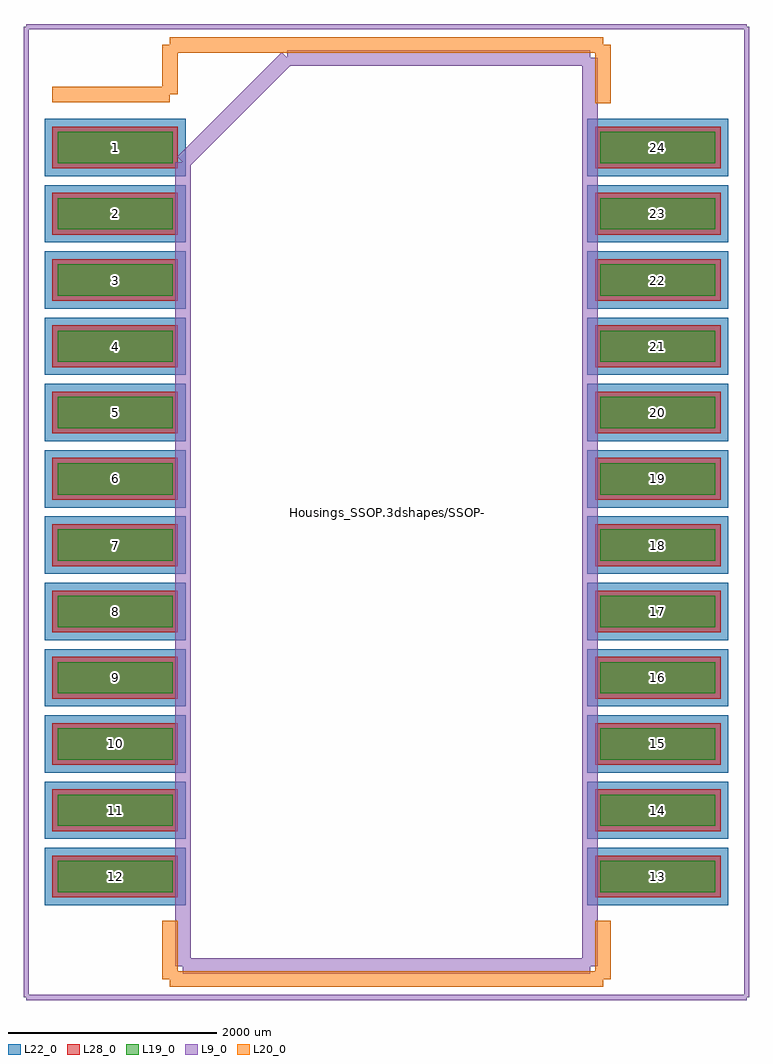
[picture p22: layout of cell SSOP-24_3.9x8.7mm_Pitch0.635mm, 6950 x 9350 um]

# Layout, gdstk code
import gdstk
lib = gdstk.Library(unit=1e-6, precision=1e-09)
def R(c, l, rs):  # rectangles x0, y0, x1, y1
    for r in rs: c.add(gdstk.rectangle(r[:2], r[2:], *l))
def A(c, l, x, y, w, h, nx, ny, dx, dy):  # array of equal rectangles
    R(c, l, [(x+i*dx, y+j*dy, x+i*dx+w, y+j*dy+h) for i in range(nx) for j in range(ny)])
L9_0 = (9, 0)
L19_0 = (19, 0)
L20_0 = (20, 0)
L22_0 = (22, 0)
L28_0 = (28, 0)

ssop_24_3_9x8_7mm_pitch0 = lib.new_cell('SSOP-24_3.9x8.7mm_Pitch0.635mm')
A(ssop_24_3_9x8_7mm_pitch0, L19_0, -3150, -3642.5, 1100, 300, 1, 12, 0, 635)
A(ssop_24_3_9x8_7mm_pitch0, L19_0, 2050, -3642.5, 1100, 300, 1, 12, 0, 635)
A(ssop_24_3_9x8_7mm_pitch0, L22_0, -3275, -3767.5, 1350, 550, 1, 12, 0, 635)
A(ssop_24_3_9x8_7mm_pitch0, L22_0, 1925, -3767.5, 1350, 550, 1, 12, 0, 635)
A(ssop_24_3_9x8_7mm_pitch0, L28_0, -3200, -3692.5, 1200, 400, 1, 12, 0, 635)
A(ssop_24_3_9x8_7mm_pitch0, L28_0, 2000, -3692.5, 1200, 400, 1, 12, 0, 635)
ssop_24_3_9x8_7mm_pitch0.add(gdstk.FlexPath([(-2075,4000),(-3200,4000)], 149.998, ends="flush", simple_path=True, layer=20, datatype=0))  # L20_0
ssop_24_3_9x8_7mm_pitch0.add(gdstk.FlexPath([(-2075,-4475),(2075,-4475)], 149.998, ends="flush", simple_path=True, layer=20, datatype=0))  # L20_0
ssop_24_3_9x8_7mm_pitch0.add(gdstk.FlexPath([(-2075,4475),(2075,4475)], 149.998, ends="flush", simple_path=True, layer=20, datatype=0))  # L20_0
ssop_24_3_9x8_7mm_pitch0.add(gdstk.FlexPath([(-2075,-4475),(-2075,-3917.5)], 149.998, ends="flush", simple_path=True, layer=20, datatype=0))  # L20_0
ssop_24_3_9x8_7mm_pitch0.add(gdstk.FlexPath([(2075,-4475),(2075,-3917.5)], 149.998, ends="flush", simple_path=True, layer=20, datatype=0))  # L20_0
ssop_24_3_9x8_7mm_pitch0.add(gdstk.FlexPath([(2075,4475),(2075,3917.5)], 149.998, ends="flush", simple_path=True, layer=20, datatype=0))  # L20_0
ssop_24_3_9x8_7mm_pitch0.add(gdstk.FlexPath([(-2075,4475),(-2075,4000)], 149.998, ends="flush", simple_path=True, layer=20, datatype=0))  # L20_0
ssop_24_3_9x8_7mm_pitch0.add(gdstk.FlexPath([(-3450,-4650),(3450,-4650)], 50, ends="flush", simple_path=True, layer=9, datatype=0))  # L9_0
ssop_24_3_9x8_7mm_pitch0.add(gdstk.FlexPath([(-3450,4650),(3450,4650)], 50, ends="flush", simple_path=True, layer=9, datatype=0))  # L9_0
ssop_24_3_9x8_7mm_pitch0.add(gdstk.FlexPath([(3450,4650),(3450,-4650)], 50, ends="flush", simple_path=True, layer=9, datatype=0))  # L9_0
ssop_24_3_9x8_7mm_pitch0.add(gdstk.FlexPath([(-3450,4650),(-3450,-4650)], 50, ends="flush", simple_path=True, layer=9, datatype=0))  # L9_0
ssop_24_3_9x8_7mm_pitch0.add(gdstk.FlexPath([(-1950,3350),(-950,4350)], 149.998, ends="flush", simple_path=True, layer=9, datatype=0))  # L9_0
ssop_24_3_9x8_7mm_pitch0.add(gdstk.FlexPath([(-1950,-4350),(-1950,3350)], 149.998, ends="flush", simple_path=True, layer=9, datatype=0))  # L9_0
ssop_24_3_9x8_7mm_pitch0.add(gdstk.FlexPath([(1950,-4350),(-1950,-4350)], 149.998, ends="flush", simple_path=True, layer=9, datatype=0))  # L9_0
ssop_24_3_9x8_7mm_pitch0.add(gdstk.FlexPath([(1950,4350),(1950,-4350)], 149.998, ends="flush", simple_path=True, layer=9, datatype=0))  # L9_0
ssop_24_3_9x8_7mm_pitch0.add(gdstk.FlexPath([(-950,4350),(1950,4350)], 149.998, ends="flush", simple_path=True, layer=9, datatype=0))  # L9_0
ssop_24_3_9x8_7mm_pitch0.add(gdstk.Label('Housings_SSOP.3dshapes/SSOP-24_3.9x8.7mm_Pitch0.635mm.wrl', (0,0), layer=12, texttype=0))
ssop_24_3_9x8_7mm_pitch0.add(gdstk.Label('24', (2600,3492.5), layer=28, texttype=0))
ssop_24_3_9x8_7mm_pitch0.add(gdstk.Label('23', (2600,2857.5), layer=28, texttype=0))
ssop_24_3_9x8_7mm_pitch0.add(gdstk.Label('22', (2600,2222.5), layer=28, texttype=0))
ssop_24_3_9x8_7mm_pitch0.add(gdstk.Label('21', (2600,1587.5), layer=28, texttype=0))
ssop_24_3_9x8_7mm_pitch0.add(gdstk.Label('20', (2600,952.5), layer=28, texttype=0))
ssop_24_3_9x8_7mm_pitch0.add(gdstk.Label('19', (2600,317.5), layer=28, texttype=0))
ssop_24_3_9x8_7mm_pitch0.add(gdstk.Label('18', (2600,-317.5), layer=28, texttype=0))
ssop_24_3_9x8_7mm_pitch0.add(gdstk.Label('17', (2600,-952.5), layer=28, texttype=0))
ssop_24_3_9x8_7mm_pitch0.add(gdstk.Label('16', (2600,-1587.5), layer=28, texttype=0))
ssop_24_3_9x8_7mm_pitch0.add(gdstk.Label('15', (2600,-2222.5), layer=28, texttype=0))
ssop_24_3_9x8_7mm_pitch0.add(gdstk.Label('14', (2600,-2857.5), layer=28, texttype=0))
ssop_24_3_9x8_7mm_pitch0.add(gdstk.Label('13', (2600,-3492.5), layer=28, texttype=0))
ssop_24_3_9x8_7mm_pitch0.add(gdstk.Label('12', (-2600,-3492.5), layer=28, texttype=0))
ssop_24_3_9x8_7mm_pitch0.add(gdstk.Label('11', (-2600,-2857.5), layer=28, texttype=0))
ssop_24_3_9x8_7mm_pitch0.add(gdstk.Label('10', (-2600,-2222.5), layer=28, texttype=0))
ssop_24_3_9x8_7mm_pitch0.add(gdstk.Label('9', (-2600,-1587.5), layer=28, texttype=0))
ssop_24_3_9x8_7mm_pitch0.add(gdstk.Label('8', (-2600,-952.5), layer=28, texttype=0))
ssop_24_3_9x8_7mm_pitch0.add(gdstk.Label('7', (-2600,-317.5), layer=28, texttype=0))
ssop_24_3_9x8_7mm_pitch0.add(gdstk.Label('6', (-2600,317.5), layer=28, texttype=0))
ssop_24_3_9x8_7mm_pitch0.add(gdstk.Label('5', (-2600,952.5), layer=28, texttype=0))
ssop_24_3_9x8_7mm_pitch0.add(gdstk.Label('4', (-2600,1587.5), layer=28, texttype=0))
ssop_24_3_9x8_7mm_pitch0.add(gdstk.Label('3', (-2600,2222.5), layer=28, texttype=0))
ssop_24_3_9x8_7mm_pitch0.add(gdstk.Label('2', (-2600,2857.5), layer=28, texttype=0))
ssop_24_3_9x8_7mm_pitch0.add(gdstk.Label('1', (-2600,3492.5), layer=28, texttype=0))
ssop_24_3_9x8_7mm_pitch0.add(gdstk.Label('type', (0,-5400), layer=9, texttype=0))
ssop_24_3_9x8_7mm_pitch0.add(gdstk.Label('devicename', (0,5400), layer=9, texttype=0))

lib.write_gds('SSOP-24_3.9x8.7mm_Pitch0.635mm.gds')
